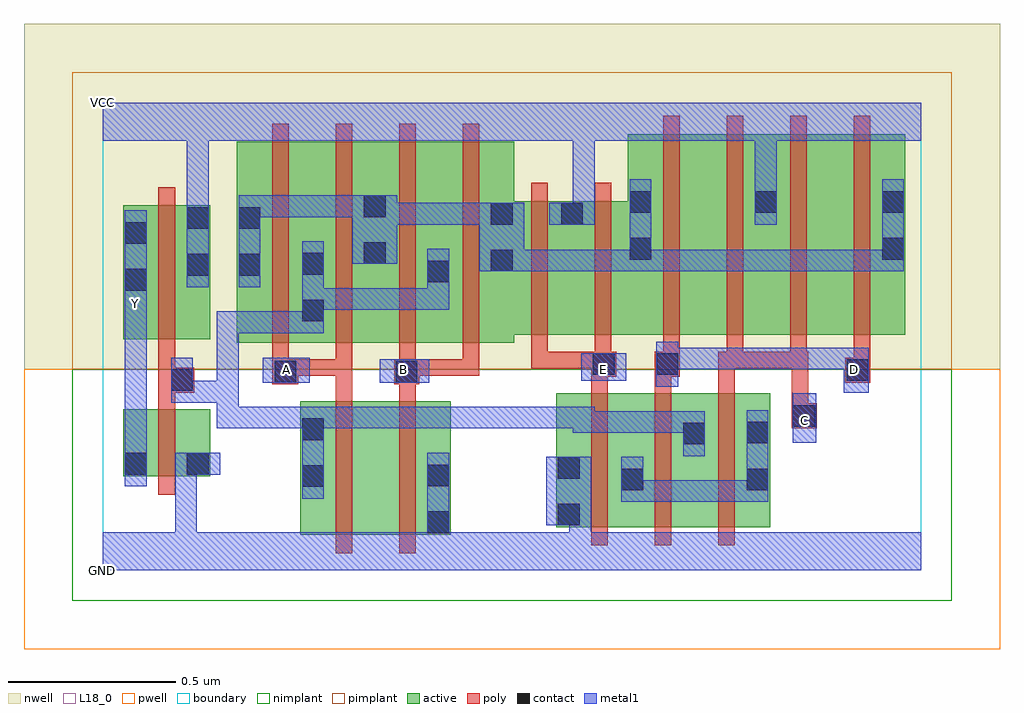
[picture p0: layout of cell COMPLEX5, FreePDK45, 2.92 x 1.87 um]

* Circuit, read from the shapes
.subckt COMPLEX5 A B C D E GND VCC Y
M1 GND n1 Y VSUBS nfet w=0.2u l=0.05u
M2 n2 A n1 VSUBS nfet w=0.4u l=0.05u
M3 GND B n2 VSUBS nfet w=0.4u l=0.05u
M4 n3 E GND VSUBS nfet w=0.4u l=0.05u
M5 n1 D n3 VSUBS nfet w=0.4u l=0.05u
M6 n3 C n1 VSUBS nfet w=0.4u l=0.05u
M7 VCC n1 Y n4 pfet w=0.4u l=0.05u
M8 n1 A n5 n4 pfet w=0.6u l=0.05u m=2
M9 n1 B n5 n4 pfet w=0.6u l=0.05u m=2
M10 VCC E n5 n4 pfet w=0.4u l=0.05u m=2
M11 n6 D n5 n4 pfet w=0.6u l=0.05u
M12 VCC C n6 n4 pfet w=0.6u l=0.05u
M13 n7 C VCC n4 pfet w=0.6u l=0.05u
M14 n5 D n7 n4 pfet w=0.6u l=0.05u
.ends

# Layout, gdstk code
import gdstk
lib = gdstk.Library(unit=1e-6, precision=1e-09)
def R(c, l, rs):  # rectangles x0, y0, x1, y1
    for r in rs: c.add(gdstk.rectangle(r[:2], r[2:], *l))
def A(c, l, x, y, w, h, nx, ny, dx, dy):  # array of equal rectangles
    R(c, l, [(x+i*dx, y+j*dy, x+i*dx+w, y+j*dy+h) for i in range(nx) for j in range(ny)])
active = (1, 0)
pwell = (2, 0)
nwell = (3, 0)
nimplant = (4, 0)
pimplant = (5, 0)
poly = (9, 0)
contact = (10, 0)
metal1 = (11, 0)
L18_0 = (18, 0)
boundary = (235, 0)

complex5 = lib.new_cell('COMPLEX5')
R(complex5, active, [(0.592,0.107,0.817,0.507), (0.817,0.107,1.042,0.507), (0.967,0.107,1.042,0.507), (1.357,0.13,1.622,0.53), (1.357,0.13,1.432,0.53), (1.547,0.13,1.807,0.53), (1.732,0.13,1.997,0.53), (0.592,0.147,0.697,0.507), (1.547,0.147,1.622,0.492), (1.732,0.147,1.807,0.492), (1.922,0.147,1.997,0.53), (0.062,0.282,0.137,0.482), (0.062,0.282,0.322,0.482), (0.247,0.282,0.322,0.482), (0.402,0.682,0.667,1.282), (0.402,0.682,0.477,1.2), (0.592,0.682,0.852,1.282), (0.777,0.682,1.042,1.282), (0.967,0.682,1.232,1.282), (0.062,0.692,0.322,1.092), (0.062,0.692,0.137,1.092), (0.247,0.692,0.322,1.092), (1.157,0.705,1.232,1.2), (1.157,0.705,1.442,1.105), (1.367,0.705,1.647,1.105), (1.572,0.705,1.797,1.305), (1.797,0.705,2.022,1.305), (1.947,0.705,2.177,1.305), (2.177,0.705,2.402,1.305), (2.327,0.705,2.402,1.2), (0.592,0.707,0.667,1.07), (0.777,0.707,0.852,1.2), (0.967,0.707,1.042,1.07), (1.947,0.707,2.022,1.257), (1.367,0.802,1.442,1.105), (1.572,0.907,1.647,1.2)])
R(complex5, pwell, [(-0.235,-0.235,2.685,0.602)])
R(complex5, nwell, [(-0.235,0.602,2.685,1.635)])
R(complex5, nimplant, [(-0.09,-0.09,2.54,0.602)])
R(complex5, pimplant, [(-0.09,0.602,2.54,1.49)])
A(complex5, poly, 1.462, 0.075, 0.05, 0.51, 3, 1, 0.19, 0)
A(complex5, poly, 0.507, 0.582, 0.05, 0.095, 4, 1, 0.19, 0)
A(complex5, poly, 1.677, 0.605, 0.05, 0.095, 3, 1, 0.19, 0)
A(complex5, poly, 0.507, 0.627, 0.05, 0.71, 4, 1, 0.19, 0)
A(complex5, poly, 1.677, 0.65, 0.05, 0.71, 4, 1, 0.19, 0)
R(complex5, poly, [(0.697,0.052,0.747,0.562), (0.887,0.052,0.937,0.562), (0.167,0.227,0.217,0.537), (2.062,0.425,2.137,0.5), (2.062,0.45,2.112,0.655), (0.167,0.487,0.217,0.582), (0.697,0.512,0.747,0.632), (0.887,0.512,0.937,0.607), (0.167,0.532,0.275,0.607), (1.462,0.535,1.512,0.63), (1.652,0.535,1.702,0.63), (1.842,0.535,1.892,0.655), (0.167,0.557,0.217,0.687), (0.507,0.557,0.585,0.632), (0.872,0.557,0.947,0.632), (2.222,0.562,2.297,0.637), (1.462,0.58,1.537,0.655), (1.652,0.58,1.727,0.655), (0.535,0.582,0.585,0.632), (0.535,0.582,0.585,0.632), (0.535,0.582,0.747,0.632), (0.697,0.582,0.747,0.632), (0.897,0.582,1.127,0.632), (1.077,0.582,1.127,0.632), (1.077,0.582,1.127,0.632), (1.077,0.582,1.127,0.632), (2.247,0.587,2.297,0.7), (1.282,0.605,1.332,0.7), (1.282,0.605,1.332,0.655), (1.282,0.605,1.512,0.655), (1.462,0.605,1.512,0.655), (1.462,0.605,1.512,0.655), (1.472,0.605,1.522,0.7), (1.842,0.605,1.917,0.655), (1.867,0.605,2.107,0.655), (2.057,0.605,2.107,0.655), (2.057,0.605,2.107,0.655), (2.057,0.605,2.107,0.655), (2.057,0.605,2.107,0.655), (2.057,0.605,2.112,0.655), (0.167,0.637,0.217,1.147), (1.282,0.65,1.332,1.16), (1.472,0.65,1.522,1.16)])
R(complex5, contact, [(0.972,0.112,1.037,0.177), (1.362,0.135,1.427,0.2), (1.552,0.24,1.617,0.305), (1.927,0.24,1.992,0.305), (0.597,0.25,0.662,0.315), (0.972,0.252,1.037,0.317), (1.362,0.275,1.427,0.34), (0.067,0.287,0.132,0.352), (0.252,0.287,0.317,0.352), (1.737,0.377,1.802,0.442), (1.927,0.38,1.992,0.445), (0.597,0.39,0.662,0.455), (2.067,0.43,2.132,0.495), (0.205,0.537,0.27,0.602), (0.515,0.562,0.58,0.627), (0.877,0.562,0.942,0.627), (2.227,0.567,2.292,0.632), (1.467,0.585,1.532,0.65), (1.657,0.585,1.722,0.65), (0.597,0.745,0.662,0.81), (0.067,0.837,0.132,0.902), (0.972,0.862,1.037,0.927), (0.252,0.882,0.317,0.947), (0.407,0.882,0.472,0.947), (0.597,0.885,0.662,0.95), (1.162,0.895,1.227,0.96), (0.782,0.917,0.847,0.982), (1.577,0.93,1.642,0.995), (2.332,0.93,2.397,0.995), (0.067,0.977,0.132,1.042), (0.252,1.022,0.317,1.087), (0.407,1.022,0.472,1.087), (1.162,1.035,1.227,1.1), (1.372,1.035,1.437,1.1), (0.782,1.057,0.847,1.122), (1.577,1.07,1.642,1.135), (1.952,1.07,2.017,1.135), (2.332,1.07,2.397,1.135)])
R(complex5, metal1, [(0,0,2.45,0.115), (0.217,0.05,0.282,0.352), (0.972,0.05,1.037,0.142), (1.397,0.05,1.462,0.2), (0.972,0.077,1.037,0.352), (1.327,0.135,1.462,0.34), (1.552,0.205,1.617,0.34), (1.552,0.205,1.787,0.27), (1.722,0.205,1.787,0.27), (1.722,0.205,1.787,0.27), (1.722,0.205,1.787,0.27), (1.722,0.205,1.992,0.27), (1.927,0.205,1.992,0.27), (1.927,0.205,1.992,0.27), (1.927,0.205,1.992,0.48), (0.597,0.215,0.662,0.49), (0.067,0.252,0.132,0.387), (0.217,0.287,0.282,0.352), (0.217,0.287,0.282,0.352), (0.217,0.287,0.282,0.352), (0.217,0.287,0.282,0.352), (0.217,0.287,0.352,0.352), (0.067,0.322,0.132,0.797), (1.737,0.342,1.802,0.477), (2.065,0.382,2.135,0.53), (1.407,0.412,1.65,0.477), (1.407,0.412,1.472,0.49), (1.585,0.412,1.65,0.477), (1.585,0.412,1.65,0.477), (1.585,0.412,1.65,0.477), (1.585,0.412,1.802,0.477), (0.342,0.425,0.407,0.49), (0.342,0.425,0.407,0.49), (0.342,0.425,0.407,0.49), (0.342,0.425,0.662,0.49), (0.342,0.425,0.407,0.567), (0.597,0.425,0.662,0.49), (0.597,0.425,0.662,0.49), (0.597,0.425,0.882,0.49), (0.817,0.425,0.882,0.49), (0.817,0.425,0.882,0.49), (0.817,0.425,0.882,0.49), (0.817,0.425,1.055,0.49), (0.99,0.425,1.055,0.49), (0.99,0.425,1.192,0.49), (1.127,0.425,1.192,0.49), (1.127,0.425,1.192,0.49), (1.127,0.425,1.192,0.49), (1.127,0.425,1.33,0.49), (1.265,0.425,1.33,0.49), (1.265,0.425,1.472,0.49), (1.407,0.425,1.472,0.49), (1.407,0.425,1.472,0.49), (0.205,0.502,0.27,0.567), (0.205,0.502,0.27,0.567), (0.205,0.502,0.27,0.637), (0.205,0.502,0.407,0.567), (0.342,0.502,0.407,0.567), (0.342,0.502,0.407,0.775), (2.217,0.532,2.292,0.667), (1.657,0.55,1.722,0.685), (0.48,0.562,0.62,0.637), (0.83,0.562,0.977,0.632), (1.432,0.567,1.567,0.65), (1.657,0.602,1.855,0.667), (1.79,0.602,1.855,0.667), (1.79,0.602,1.992,0.667), (1.927,0.602,1.992,0.667), (1.927,0.602,1.992,0.667), (1.927,0.602,1.992,0.667), (1.927,0.602,2.13,0.667), (2.065,0.602,2.13,0.667), (2.065,0.602,2.13,0.667), (2.065,0.602,2.13,0.667), (2.065,0.602,2.282,0.667), (0.342,0.71,0.407,0.775), (0.342,0.71,0.407,0.775), (0.342,0.71,0.407,0.775), (0.342,0.71,0.662,0.775), (0.597,0.71,0.662,0.985), (0.067,0.732,0.132,0.867), (0.597,0.78,0.662,0.845), (0.597,0.78,0.662,0.845), (0.597,0.78,0.867,0.845), (0.802,0.78,0.867,0.845), (0.802,0.78,1.037,0.845), (0.972,0.78,1.037,0.892), (0.067,0.802,0.132,0.867), (0.067,0.802,0.132,1.077), (0.972,0.827,1.037,0.892), (0.972,0.827,1.037,0.962), (0.252,0.847,0.317,1.122), (0.407,0.847,0.472,1.122), (1.127,0.895,1.262,1.1), (1.19,0.895,1.255,0.96), (1.19,0.895,1.255,0.96), (1.19,0.895,1.335,0.96), (1.27,0.895,1.335,0.96), (1.27,0.895,1.48,0.96), (1.415,0.895,1.48,0.96), (1.415,0.895,1.48,0.96), (1.415,0.895,1.48,0.96), (1.415,0.895,1.642,0.96), (1.577,0.895,1.642,0.96), (1.577,0.895,1.642,0.96), (1.577,0.895,1.642,1.17), (1.577,0.895,1.787,0.96), (1.722,0.895,1.787,0.96), (1.722,0.895,1.992,0.96), (1.927,0.895,1.992,0.96), (1.927,0.895,1.992,0.96), (1.927,0.895,1.992,0.96), (1.927,0.895,2.13,0.96), (2.065,0.895,2.13,0.96), (2.065,0.895,2.13,0.96), (2.065,0.895,2.13,0.96), (2.065,0.895,2.397,0.96), (2.332,0.895,2.397,0.96), (2.332,0.895,2.397,0.96), (2.332,0.895,2.397,1.17), (0.747,0.917,0.882,1.122), (0.817,1.035,0.882,1.1), (0.817,1.035,0.882,1.1), (0.817,1.035,1.055,1.1), (0.99,1.035,1.055,1.1), (0.99,1.035,1.192,1.1), (1.127,1.035,1.192,1.1), (1.127,1.035,1.192,1.1), (1.337,1.035,1.472,1.1), (1.407,1.035,1.472,1.1), (1.407,1.035,1.472,1.1), (1.407,1.035,1.472,1.35), (1.952,1.035,2.017,1.17), (0.252,1.057,0.317,1.35), (0.407,1.057,0.472,1.122), (0.407,1.057,0.472,1.122), (0.407,1.057,0.675,1.122), (0.61,1.057,0.675,1.122), (0.61,1.057,0.675,1.122), (0.61,1.057,0.675,1.122), (0.61,1.057,0.812,1.122), (1.952,1.105,2.017,1.35), (0,1.285,2.45,1.4), (0.252,1.285,0.317,1.35), (0.252,1.285,0.317,1.35)])
R(complex5, L18_0, [(0,0,2.45,0.115), (0.217,0.05,0.282,0.352), (0.972,0.05,1.037,0.142), (1.397,0.05,1.462,0.2), (0.972,0.077,1.037,0.352), (1.327,0.135,1.462,0.34), (0.067,0.252,0.132,0.387), (0.217,0.287,0.282,0.352), (0.217,0.287,0.282,0.352), (0.217,0.287,0.282,0.352), (0.217,0.287,0.282,0.352), (0.217,0.287,0.352,0.352), (0.067,0.322,0.132,0.797), (2.065,0.382,2.135,0.53), (2.067,0.417,2.132,0.482), (2.217,0.532,2.292,0.667), (1.657,0.55,1.722,0.685), (0.48,0.562,0.62,0.637), (0.83,0.562,0.977,0.632), (0.517,0.567,0.582,0.632), (0.867,0.567,0.932,0.632), (1.432,0.567,1.567,0.65), (1.467,0.567,1.532,0.632), (2.217,0.567,2.282,0.632), (1.657,0.602,1.855,0.667), (1.79,0.602,1.855,0.667), (1.79,0.602,1.992,0.667), (1.927,0.602,1.992,0.667), (1.927,0.602,1.992,0.667), (1.927,0.602,1.992,0.667), (1.927,0.602,2.13,0.667), (2.065,0.602,2.13,0.667), (2.065,0.602,2.13,0.667), (2.065,0.602,2.13,0.667), (2.065,0.602,2.282,0.667), (0.067,0.732,0.132,0.867), (0.067,0.767,0.132,0.832), (0.067,0.802,0.132,1.077), (0.067,0.802,0.132,0.867), (0.252,0.847,0.317,1.122), (1.337,1.035,1.472,1.1), (1.407,1.035,1.472,1.1), (1.407,1.035,1.472,1.1), (1.407,1.035,1.472,1.35), (1.952,1.035,2.017,1.17), (0.252,1.057,0.317,1.35), (1.952,1.105,2.017,1.35), (0,1.285,2.45,1.4), (0.252,1.285,0.317,1.35), (0.252,1.285,0.317,1.35)])
R(complex5, boundary, [(0,0,2.45,1.4)])
complex5.add(gdstk.Label('A', (0.55,0.6), layer=11, texttype=0))
complex5.add(gdstk.Label('B', (0.9,0.6), layer=11, texttype=0))
complex5.add(gdstk.Label('C', (2.1,0.45), layer=11, texttype=0))
complex5.add(gdstk.Label('D', (2.25,0.6), layer=11, texttype=0))
complex5.add(gdstk.Label('E', (1.5,0.6), layer=11, texttype=0))
complex5.add(gdstk.Label('Y', (0.1,0.8), layer=11, texttype=0))
complex5.add(gdstk.Label('VCC', (0,1.4), layer=11, texttype=0))
complex5.add(gdstk.Label('GND', (0,0), layer=11, texttype=0))

lib.write_gds('COMPLEX5.gds')
